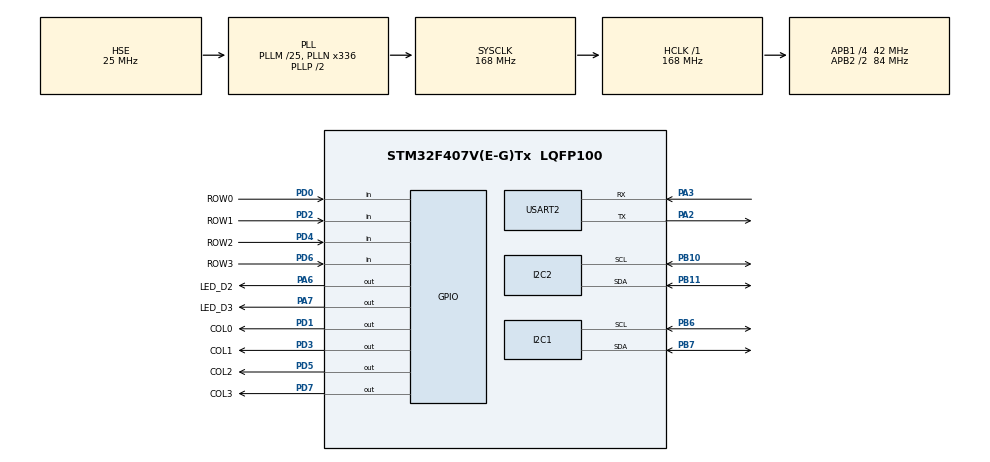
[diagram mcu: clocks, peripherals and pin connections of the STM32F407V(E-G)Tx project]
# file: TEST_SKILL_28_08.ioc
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Mcu.Family=STM32F4
Mcu.Name=STM32F407V(E-G)Tx
Mcu.Package=LQFP100
NVIC.PriorityGroup=NVIC_PRIORITYGROUP_4
PA2.Mode=Asynchronous
PA2.Signal=USART2_TX
PA3.Mode=Asynchronous
PA3.Signal=USART2_RX
PA6.GPIO_Label=LED_D2
PA6.PinState=GPIO_PIN_SET
PA6.Signal=GPIO_Output
PA7.GPIO_Label=LED_D3
PA7.PinState=GPIO_PIN_SET
PA7.Signal=GPIO_Output
PB10.Mode=I2C
PB10.Signal=I2C2_SCL
PB11.Mode=I2C
PB11.Signal=I2C2_SDA
PB6.Mode=I2C
PB6.Signal=I2C1_SCL
PB7.Mode=I2C
PB7.Signal=I2C1_SDA
PC14-OSC32_IN.Mode=LSE-External-Oscillator
PC14-OSC32_IN.Signal=RCC_OSC32_IN
PC15-OSC32_OUT.Mode=LSE-External-Oscillator
PC15-OSC32_OUT.Signal=RCC_OSC32_OUT
PD0.GPIO_Label=ROW0
PD0.GPIO_PuPd=GPIO_PULLUP
PD0.Signal=GPIO_Input
PD1.GPIO_Label=COL0
PD1.PinState=GPIO_PIN_SET
PD1.Signal=GPIO_Output
PD2.GPIO_Label=ROW1
PD2.GPIO_PuPd=GPIO_PULLUP
PD2.Signal=GPIO_Input
PD3.GPIO_Label=COL1
PD3.PinState=GPIO_PIN_SET
PD3.Signal=GPIO_Output
PD4.GPIO_Label=ROW2
PD4.GPIO_PuPd=GPIO_PULLUP
PD4.Signal=GPIO_Input
PD5.GPIO_Label=COL2
PD5.PinState=GPIO_PIN_SET
PD5.Signal=GPIO_Output
PD6.GPIO_Label=ROW3
PD6.GPIO_PuPd=GPIO_PULLUP
PD6.Signal=GPIO_Input
PD7.GPIO_Label=COL3
PD7.PinState=GPIO_PIN_SET
PD7.Signal=GPIO_Output
PH0-OSC_IN.Mode=HSE-External-Oscillator
PH0-OSC_IN.Signal=RCC_OSC_IN
PH1-OSC_OUT.Mode=HSE-External-Oscillator
PH1-OSC_OUT.Signal=RCC_OSC_OUT
ProjectManager.HeapSize=0x200
ProjectManager.StackSize=0x400
ProjectManager.TargetToolchain=MDK-ARM V5.32
RCC.48MHZClocksFreq_Value=84000000
RCC.AHBFreq_Value=168000000
RCC.APB1CLKDivider=RCC_HCLK_DIV4
RCC.APB1Freq_Value=42000000
RCC.APB1TimFreq_Value=84000000
RCC.APB2CLKDivider=RCC_HCLK_DIV2
RCC.APB2Freq_Value=84000000
RCC.APB2TimFreq_Value=168000000
RCC.CortexFreq_Value=168000000
RCC.HCLKFreq_Value=168000000
RCC.HSE_VALUE=25000000
RCC.HSI_VALUE=16000000
RCC.PLLM=25
RCC.PLLN=336
RCC.PLLSourceVirtual=RCC_PLLSOURCE_HSE
RCC.SYSCLKFreq_VALUE=168000000
RCC.SYSCLKSource=RCC_SYSCLKSOURCE_PLLCLK
RCC.VCOOutputFreq_Value=336000000
USART2.VirtualMode=VM_ASYNC
board=custom

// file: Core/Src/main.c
/* USER CODE BEGIN Header */
/**
  ******************************************************************************
  * @file           : main.c
  * @brief          : Main program body
  ******************************************************************************
  * @attention
  *
  * Copyright (c) 2023 STMicroelectronics.
  * All rights reserved.
  *
  * This software is licensed under terms that can be found in the LICENSE file
  * in the root directory of this software component.
  * If no LICENSE file comes with this software, it is provided AS-IS.
  *
  ******************************************************************************
  */
/* USER CODE END Header */
#include "main.h"
#include "i2c.h"
#include "usart.h"
#include "gpio.h"

/* USER CODE BEGIN Includes */
#include "stdio.h"
#include "i2c-lcd.h"
/* USER CODE END Includes */

/* USER CODE BEGIN PTD */
#define SLAVE_ADDRESS_EEPROM 0x50  // CODE EEPROM
void write_eeprom (int address ,int value)
{
	uint8_t data_t[2];

	data_t[0] = address;
	data_t[1] = value;
	HAL_I2C_Master_Transmit (&hi2c2, SLAVE_ADDRESS_EEPROM << 1,(uint8_t *) data_t, 2, HAL_MAX_DELAY);
	HAL_Delay(10); // tWR Write Cycle Time 5 ms
	printf("write_eeprom at 0x%X \r\n",address);
}

uint8_t read_eeprom(uint16_t register_pointer)
{
	HAL_StatusTypeDef status = HAL_OK;
	uint8_t return_value = 0;

	status = HAL_I2C_Mem_Read(&hi2c2, SLAVE_ADDRESS_EEPROM << 1, (uint16_t)register_pointer, I2C_MEMADD_SIZE_8BIT, &return_value, 1, 100);

	/* Check the communication status */
	if(status != HAL_OK)
	{

	}
	printf("Read EEPROM at [%d] : %d \r\n",register_pointer, return_value);
	return return_value;
}

void reset_eeprom()
{
	for(int i = 0 ; i < 20; i++)
	{
		write_eeprom(i,0+48);
		read_eeprom(i);
	}
}
/* USER CODE END PTD */

/* USER CODE BEGIN PV */
char buffer[20];
// su dung uart debug
  int fputc(int ch, FILE * f)
	{
		HAL_UART_Transmit( & huart2, (uint8_t * ) & ch, 1, HAL_MAX_DELAY);
		return ch;
	}

//---------------------------------------------
	int	matrix_row ;  //debug printf LCD
	int matrix_col;
	char key;

	int so[4];

/* USER CODE END PV */

void SystemClock_Config(void);

/* USER CODE BEGIN 0 */
GPIO_TypeDef* row_port[4] = {ROW0_GPIO_Port, ROW1_GPIO_Port, ROW2_GPIO_Port, ROW3_GPIO_Port};
GPIO_TypeDef* col_port[4] = {COL0_GPIO_Port, COL1_GPIO_Port, COL2_GPIO_Port, COL3_GPIO_Port};

char scan_key()
{
	char keys [4][4] =
	{
		{'1', '2', '3', 'A'},
		{'4', '5', '6', 'B'},
		{'7', '8', '9', 'C'},
		{'*', '0', '#', 'D'},
	};
	// PHIA DUOI LA MATRIX 4X4
	char col_pin[4]={COL0_Pin,COL1_Pin,COL2_Pin,COL3_Pin};// quet cot
	char row_pin[4]={ROW0_Pin,ROW1_Pin,ROW2_Pin,ROW3_Pin};// quet hang
	// quet cot
	for (int col =0;col<4; col++)
	{

		HAL_GPIO_WritePin(GPIOD,col_pin[col],0);
		//quet hang
		for ( int row=0;row<4 ;row++)
		{
			if ( HAL_GPIO_ReadPin(GPIOD,row_pin[row]) ==0)
			{

				HAL_Delay(50);
				while ( HAL_GPIO_ReadPin(GPIOD,row_pin[row]) ==0)
				{
				}

				HAL_GPIO_WritePin(GPIOD,col_pin[col],1);
				matrix_row = row;  //debug printf LCD
				matrix_col = col;
				return keys [row][col];

			}

		}
		HAL_GPIO_WritePin(GPIOD,col_pin[col],1);
	}
 return 32;// 32 KY TU "SPACE" TRONG MA ACSII
}
/* USER CODE END 0 */

int main(void)
{

  /* MCU Configuration--------------------------------------------------------*/

  /* Reset of all peripherals, Initializes the Flash interface and the Systick. */
  HAL_Init();

  /* Configure the system clock */
  SystemClock_Config();

  /* Initialize all configured peripherals */
  MX_GPIO_Init();
  MX_I2C1_Init();
  MX_I2C2_Init();
  MX_USART2_UART_Init();

  /* Infinite loop */
  while (1)
  {
	int i=0;
	printf("nhap 4 so");
	while(1)
	{
	key = scan_key();
	if(('0'<=key)&&(key<='9'))
	{
		  so[i]=key-48;
			write_eeprom(3,so[0]);
			write_eeprom(2,so[1]);
			write_eeprom(1,so[2]);
			write_eeprom(0,so[3]);
			printf("%d %d %d %d ",so[0],so[1],so[2],so[3]);
			i++;
	}
	if(key=='#')
	{

			i=0;
//	int read =100*read_eeprom(2) +10*read_eeprom(1) + read_eeprom(0);
//	printf("mk nguoi dung 1 la %d\r\n",read);
	}

}
  }
}

void SystemClock_Config(void)
{
  RCC_OscInitTypeDef RCC_OscInitStruct = {0};
  RCC_ClkInitTypeDef RCC_ClkInitStruct = {0};

  /** Configure the main internal regulator output voltage
  */
  __HAL_RCC_PWR_CLK_ENABLE();
  __HAL_PWR_VOLTAGESCALING_CONFIG(PWR_REGULATOR_VOLTAGE_SCALE1);

  /** Initializes the RCC Oscillators according to the specified parameters
  * in the RCC_OscInitTypeDef structure.
  */
  RCC_OscInitStruct.OscillatorType = RCC_OSCILLATORTYPE_HSE;
  RCC_OscInitStruct.HSEState = RCC_HSE_ON;
  RCC_OscInitStruct.PLL.PLLState = RCC_PLL_ON;
  RCC_OscInitStruct.PLL.PLLSource = RCC_PLLSOURCE_HSE;
  RCC_OscInitStruct.PLL.PLLM = 25;
  RCC_OscInitStruct.PLL.PLLN = 336;
  RCC_OscInitStruct.PLL.PLLP = RCC_PLLP_DIV2;
  RCC_OscInitStruct.PLL.PLLQ = 4;
  if (HAL_RCC_OscConfig(&RCC_OscInitStruct) != HAL_OK)
  {
    Error_Handler();
  }

  /** Initializes the CPU, AHB and APB buses clocks
  */
  RCC_ClkInitStruct.ClockType = RCC_CLOCKTYPE_HCLK|RCC_CLOCKTYPE_SYSCLK
                              |RCC_CLOCKTYPE_PCLK1|RCC_CLOCKTYPE_PCLK2;
  RCC_ClkInitStruct.SYSCLKSource = RCC_SYSCLKSOURCE_PLLCLK;
  RCC_ClkInitStruct.AHBCLKDivider = RCC_SYSCLK_DIV1;
  RCC_ClkInitStruct.APB1CLKDivider = RCC_HCLK_DIV4;
  RCC_ClkInitStruct.APB2CLKDivider = RCC_HCLK_DIV2;

  if (HAL_RCC_ClockConfig(&RCC_ClkInitStruct, FLASH_LATENCY_5) != HAL_OK)
  {
    Error_Handler();
  }
}

void Error_Handler(void)
{
  __disable_irq();
  while (1)
  {
  }
}
